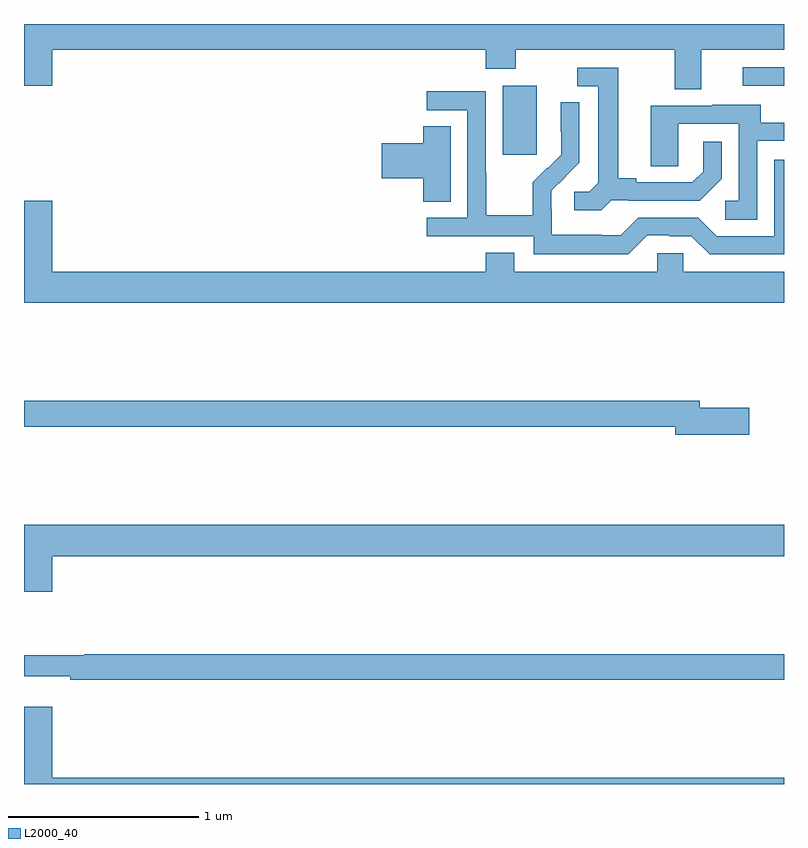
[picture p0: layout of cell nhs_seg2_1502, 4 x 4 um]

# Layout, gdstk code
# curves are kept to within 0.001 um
import gdstk
lib = gdstk.Library(unit=1e-6, precision=1e-09)
def R(c, l, rs):  # rectangles x0, y0, x1, y1
    for r in rs: c.add(gdstk.rectangle(r[:2], r[2:], *l))
def P(c, l, *ps):  # polygons
    for p in ps: c.add(gdstk.Polygon(p, *l))
L2000_40 = (2000, 40)

nhs_seg2_1502 = lib.new_cell('nhs_seg2_1502')
R(nhs_seg2_1502, L2000_40, [(191.519,619.113,191.698,619.474), (192.783,619.476,193,619.572)])
P(nhs_seg2_1502, L2000_40, [(192.565,619.664),(193,619.664),(193,619.8),(189,619.8),(189,619.476),(189.148,619.476),(189.148,619.664),(191.429,619.664),(191.429,619.565),(191.589,619.565),(191.589,619.664),(192.425,619.664),(192.425,619.456),(192.565,619.456)],
  [(192.09,618.873),(192.184,618.873),(192.184,618.87),(192.556,618.87),(192.672,618.986),(192.672,619.18),(192.575,619.18),(192.575,619.023),(192.518,618.966),(192.223,618.966),(192.223,618.989),(192.127,618.989),(192.127,619.569),(191.913,619.569),(191.913,619.473),(192.023,619.473),(192.023,618.965),(191.976,618.918),(191.895,618.918),(191.895,618.821),(192.038,618.821)],
  [(192.279,618.687),(192.395,618.687),(192.395,618.684),(192.513,618.684),(192.609,618.588),(193,618.588),(193,619.086),(192.948,619.086),(192.948,618.684),(192.645,618.684),(192.549,618.78),(192.234,618.78),(192.141,618.687),(192.041,618.687),(192.041,618.691),(191.778,618.691),(191.778,618.825),(191.776,618.825),(191.776,618.922),(191.922,619.07),(191.922,619.388),(191.826,619.388),(191.826,619.234),(191.828,619.234),(191.828,619.112),(191.757,619.041),(191.754,619.044),(191.677,618.967),(191.677,618.793),(191.433,618.793),(191.433,619.016),(191.43,619.016),(191.43,619.446),(191.121,619.446),(191.121,619.347),(191.334,619.347),(191.334,618.78),(191.121,618.78),(191.121,618.684),(191.682,618.684),(191.682,618.587),(192.179,618.587)],
  [(192.858,619.185),(193,619.185),(193,619.281),(192.877,619.281),(192.877,619.375),(192.623,619.375),(192.623,619.371),(192.299,619.371),(192.299,619.051),(192.444,619.051),(192.444,619.275),(192.762,619.275),(192.762,618.87),(192.69,618.87),(192.69,618.769),(192.858,618.769)],
  [(191.245,619.262),(191.102,619.262),(191.102,619.172),(190.884,619.172),(190.884,618.989),(191.102,618.989),(191.102,618.865),(191.245,618.865)],
  [(193,618.496),(192.471,618.496),(192.471,618.594),(192.333,618.594),(192.333,618.496),(191.581,618.496),(191.581,618.595),(191.429,618.595),(191.429,618.496),(189.148,618.496),(189.148,618.871),(189,618.871),(189,618.332),(193,618.332)],
  [(192.817,617.78),(192.556,617.78),(192.556,617.816),(189,617.816),(189,617.68),(192.428,617.68),(192.428,617.638),(192.817,617.638)],
  [(189.148,617),(193,617),(193,617.164),(189,617.164),(189,616.812),(189.148,616.812)],
  [(193,616.484),(189.316,616.484),(189.316,616.477),(189,616.477),(189,616.367),(189.244,616.367),(189.244,616.348),(193,616.348)],
  [(193,615.832),(189.148,615.832),(189.148,616.207),(189,616.207),(189,615.8),(193,615.8)])

lib.write_gds('nhs_seg2_1502.gds')
